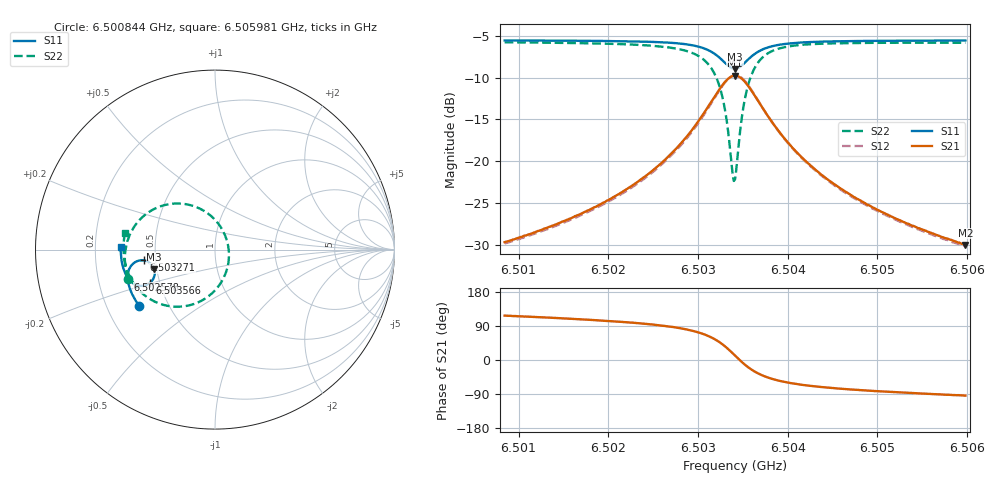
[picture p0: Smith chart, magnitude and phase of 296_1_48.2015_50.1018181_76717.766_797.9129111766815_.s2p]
#  HZ  S  RI  R  50.00
! Rohde & Schwarz Vector Network Analyzer
! Rohde-Schwarz,ZNB20-2Port,1311601062101988,3.16
! Created: UTC 3/20/2024, 11:49:16 AM
! freq[Hz]  re:S11  im:S11  re:S21  im:S21  re:S12  im:S12  re:S22  im:S22
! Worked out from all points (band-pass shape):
!   401 points, 6.500844 GHz to 6.505981 GHz, reference 50 ohm
!   highest |S21| = -9.78 dB at 6.503412 GHz (marker M1); lowest = -30.0 dB at 6.505981 GHz (marker M2)
!   |S21| within 3 dB of the highest: 6.503155 GHz to 6.503669 GHz (513.5 kHz wide, 0.0079 % of centre)
!   lowest |S11| = -9.0 dB at 6.503412 GHz (marker M3), VSWR 2.11, Z = 24.2 - j6.06 ohm
!   |S11| at or under -10 dB: nowhere
!   |S22| runs from -22.4 to -5.8 dB; largest |S21 - S12| = 0.011
!   S11 on the Smith chart (normalised r, x): 6.500844 GHz: 0.34, -0.30; 6.502578 GHz: 0.33, -0.15; 6.503271 GHz: 0.43, -0.06; 6.503566 GHz: 0.44, -0.20; 6.505981 GHz: 0.31, +0.01
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6.5008439e9  -0.4214 -0.3158  -0.015 0.0292  -0.0132 0.0293  -0.4869 -0.1636
6.5017043e9  -0.459 -0.2532  -0.0144 0.0466  -0.0121 0.0464  -0.5017 -0.0738
6.5021795e9  -0.4761 -0.2116  -0.0117 0.0658  -0.00874 0.0647  -0.4996 -0.00777
6.5025647e9  -0.4857 -0.1698  -0.00294 0.0946  0.000692 0.0925  -0.4811 0.0672
6.5025776e9  -0.4859 -0.1682  -0.0024 0.096  0.00112 0.0938  -0.48 0.0703
6.5028216e9  -0.4852 -0.133  0.0159 0.129  0.0197 0.1253  -0.4416 0.1398
6.5030013e9  -0.4738 -0.0998  0.0504 0.1651  0.0536 0.1596  -0.3734 0.2057
6.5031683e9  -0.4392 -0.067  0.1276 0.198  0.1288 0.1917  -0.2316 0.2562
6.503271e9  -0.3968 -0.06  0.2125 0.1892  0.2128 0.1838  -0.084 0.2281
6.5033224e9  -0.3714 -0.0688  0.2605 0.1612  0.2612 0.1566  -0.00431 0.1707
6.5033866e9  -0.3451 -0.0948  0.3076 0.098  0.3101 0.0931  0.0667 0.0492
6.5034123e9  -0.3388 -0.1094  0.3176 0.0661  0.3207 0.0604  0.0772 -0.01
6.5034251e9  -0.337 -0.1169  0.3202 0.0496  0.3234 0.0433  0.0777 -0.0404
6.5035022e9  -0.343 -0.1613  0.3032 -0.0439  0.3051 -0.0537  0.0199 -0.2036
6.5035664e9  -0.3641 -0.1868  0.2608 -0.0972  0.2596 -0.1082  -0.0754 -0.2851
6.5036691e9  -0.403 -0.2015  0.1873 -0.1327  0.182 -0.1419  -0.2232 -0.318
6.503836e9  -0.4486 -0.1917  0.1068 -0.1297  0.1 -0.1346  -0.3679 -0.272
6.5040158e9  -0.4755 -0.1704  0.0631 -0.11  0.057 -0.1122  -0.439 -0.2078
6.5042727e9  -0.4963 -0.1404  0.0335 -0.0862  0.0289 -0.0867  -0.4816 -0.1364
6.5046194e9  -0.5106 -0.1044  0.016 -0.0652  0.0126 -0.0648  -0.5027 -0.0682
6.5051331e9  -0.5211 -0.057  0.00486 -0.0471  0.00265 -0.0465  -0.51 0.00379
6.5059806e9  -0.5259 0.0143  -0.00219 -0.0316  -0.00347 -0.0309  -0.5016 0.0922
